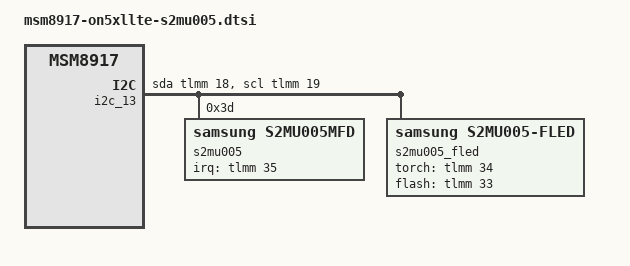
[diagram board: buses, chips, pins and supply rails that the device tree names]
/* Copyright (c) 2012, The Linux Foundation. All rights reserved.
 *
 * This program is free software; you can redistribute it and/or modify
 * it under the terms of the GNU General Public License version 2 and
 * only version 2 as published by the Free Software Foundation.
 *
 * This program is distributed in the hope that it will be useful,
 * but WITHOUT ANY WARRANTY; without even the implied warranty of
 * MERCHANTABILITY or FITNESS FOR A PARTICULAR PURPOSE.  See the
 * GNU General Public License for more details.
 */

&soc {
	i2c_13: i2c@13 {
		cell-index = <13>;
		compatible = "i2c-gpio";
		gpios = <&tlmm 18 0 /* sda */
			&tlmm 19 0 /* scl */
			>;
		i2c-gpio,delay-us = <2>;
		pinctrl-names = "s2mu005_i2c_pins_default",
						"s2mu005_i2c_pins_active",
						"s2mu005_i2c_pins_suspend";
		pinctrl-0 = <&s2mu005_i2c_default>;
		pinctrl-1 = <&s2mu005_i2c_active>;
		pinctrl-2 = <&s2mu005_i2c_suspend>;
		#address-cells = <1>;
		#size-cells = <0>;

		s2mu005@3d {
			status = "okay";
			compatible = "samsung,s2mu005mfd";
			reg = <0x3d>;
			interrupt-parent = <&tlmm>;
			interrupts = <35 0>;
			s2mu005,irq-gpio = <&tlmm 35 0x00>;
			s2mu005,wakeup;
			pinctrl-names = "s2mu005_interrupt_pins_default",
							"s2mu005_interrupt_pins_active",
							"s2mu005_interrupt_pins_suspend";
			pinctrl-0 = <&s2mu005_interrupt_default>;
			pinctrl-1 = <&s2mu005_interrupt_active>;
			pinctrl-2 = <&s2mu005_interrupt_suspend>;

			muic {
				status = "okay";
				muic,uart_addr = "139c0000.pinctrl";
				muic,uart_rxd = "gpb1-0";
				muic,uart_txd = "gpb1-1";
			};
		};
		s2mu005_fled {
			compatible = "samsung,s2mu005-fled";
			enable = <1 1>;
			rear_flash_current = <1200>;
			rear_preflash_current = <150>;
			rear_movie_current = <75>;
			front_torch_current = <50>;
			factory_current = <1000>;
			s2mu005,torch-gpio = <&tlmm 34 0x00>;
			s2mu005,flash-gpio = <&tlmm 33 0x00>;
			pinctrl-names = "fled_default","fled_sleep";
			pinctrl-0 = <&cam_flash_active>;
			pinctrl-1 = <&cam_flash_sleep>;
			S2MU005_FLASH_LED{
				id = <0>;
				ledname = "S2MU005_FLASH_LED";
				brightness = <1200>;
				timeout = <15>;/*reg value:0xF*/
				max_brightness = <1200>;
			};
			S2MU005_TORCH_LED{
				id = <1>;
				ledname = "S2MU005_TORCH_LED";
				brightness = <50>;
				timeout = <15>;/*reg value:0xF*/
				max_brightness = <400>;
			};
		};
	};
};

/ {
	muic {
		status = "okay";
		muic,support-list = "+OTG:GND",
					"-MHL:1K",
					"-VZW Accessory:28.7K",
					"-VZW Incompatible:34K",
					"-Smartdock:40.2K",
					"-HMT:49.9K",
					"-Audiodock:64.9K",
					"-USB LANHUB:80.07K",
					"+Charging Cable:102K",
					"-Universal Multimedia dock:121K",
					"+Jig USB Off:255K",
					"+Jig USB On:301K",
					"-Deskdock:365K",
					"+TYPE2 Charger:442K",
					"+Jig UART Off:523K",
					"+Jig UART On:619K",
					"+EARJACK:1M",
					"+TA:OPEN",
					"+USB:OPEN",
					"+CDP:OPEN",
					"+Undefined Charging:XXX";
	};
};

